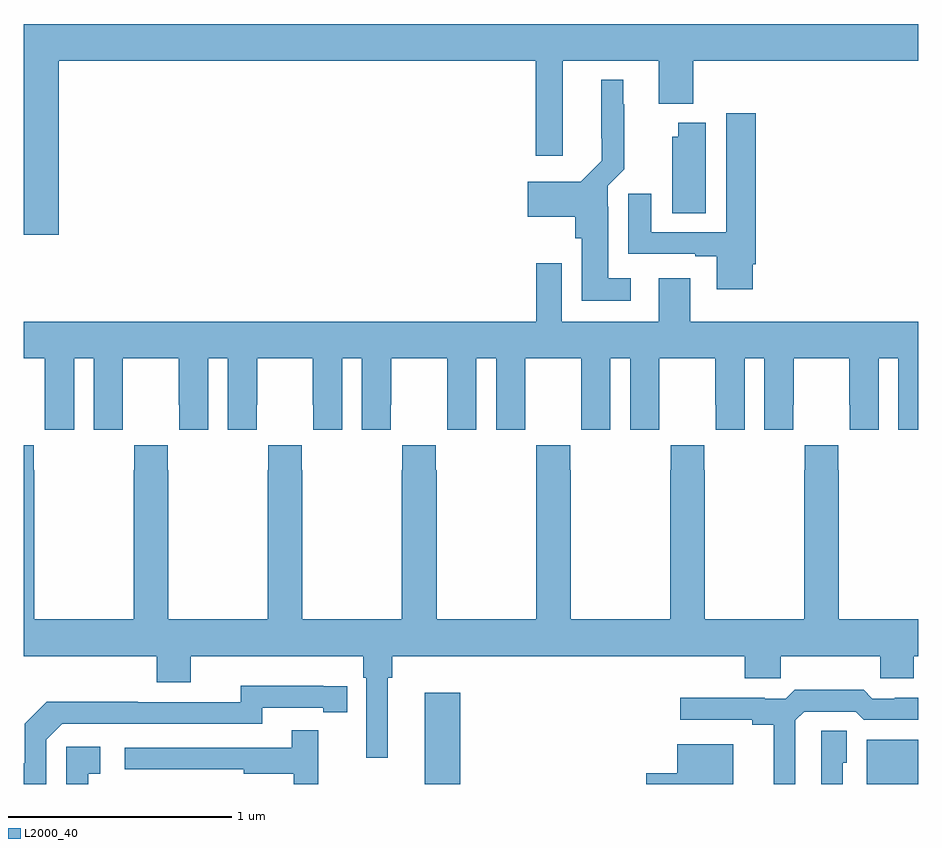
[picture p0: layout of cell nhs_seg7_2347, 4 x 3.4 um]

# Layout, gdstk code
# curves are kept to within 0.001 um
import gdstk
lib = gdstk.Library(unit=1e-6, precision=1e-09)
def R(c, l, rs):  # rectangles x0, y0, x1, y1
    for r in rs: c.add(gdstk.rectangle(r[:2], r[2:], *l))
def P(c, l, *ps):  # polygons
    for p in ps: c.add(gdstk.Polygon(p, *l))
L2000_40 = (2000, 40)

nhs_seg7_2347 = lib.new_cell('nhs_seg7_2347')
R(nhs_seg7_2347, L2000_40, [(264.794,1044,264.953,1044.409), (266.771,1044,267,1044.199)])
P(nhs_seg7_2347, L2000_40, [(263.156,1047.236),(265.289,1047.236),(265.289,1046.811),(265.411,1046.811),(265.411,1047.236),(265.841,1047.236),(265.841,1047.044),(265.994,1047.044),(265.994,1047.236),(267,1047.236),(267,1047.4),(263,1047.4),(263,1046.457),(263.156,1046.457)],
  [(265.714,1046.263),(265.615,1046.263),(265.615,1046.582),(265.611,1046.582),(265.611,1046.676),(265.685,1046.75),(265.685,1047.041),(265.681,1047.041),(265.681,1047.151),(265.583,1047.151),(265.584,1046.788),(265.491,1046.695),(265.254,1046.695),(265.254,1046.537),(265.466,1046.537),(265.466,1046.442),(265.496,1046.442),(265.496,1046.162),(265.714,1046.162)],
  [(266.26,1046.326),(266.273,1046.326),(266.273,1047.001),(266.141,1047.001),(266.141,1046.469),(265.807,1046.469),(265.807,1046.641),(265.703,1046.641),(265.703,1046.373),(266.003,1046.373),(266.003,1046.361),(266.099,1046.361),(266.099,1046.214),(266.26,1046.214)],
  [(266.05,1046.959),(265.928,1046.959),(265.928,1046.895),(265.901,1046.895),(265.901,1046.554),(266.05,1046.554)],
  [(263.224,1045.904),(263.312,1045.904),(263.312,1045.584),(263.442,1045.584),(263.442,1045.696),(263.443,1045.696),(263.443,1045.904),(263.693,1045.904),(263.693,1045.696),(263.694,1045.696),(263.694,1045.584),(263.824,1045.584),(263.824,1045.904),(263.912,1045.904),(263.912,1045.584),(264.042,1045.584),(264.042,1045.696),(264.043,1045.696),(264.043,1045.904),(264.293,1045.904),(264.293,1045.696),(264.294,1045.696),(264.294,1045.584),(264.424,1045.584),(264.424,1045.904),(264.512,1045.904),(264.512,1045.584),(264.642,1045.584),(264.642,1045.696),(264.643,1045.696),(264.643,1045.904),(264.893,1045.904),(264.893,1045.696),(264.894,1045.696),(264.894,1045.584),(265.024,1045.584),(265.024,1045.904),(265.112,1045.904),(265.112,1045.584),(265.242,1045.584),(265.242,1045.696),(265.243,1045.696),(265.243,1045.904),(265.493,1045.904),(265.493,1045.696),(265.494,1045.696),(265.494,1045.584),(265.624,1045.584),(265.624,1045.904),(265.712,1045.904),(265.712,1045.584),(265.842,1045.584),(265.842,1045.696),(265.843,1045.696),(265.843,1045.904),(266.093,1045.904),(266.093,1045.696),(266.094,1045.696),(266.094,1045.584),(266.224,1045.584),(266.224,1045.904),(266.312,1045.904),(266.312,1045.584),(266.442,1045.584),(266.442,1045.696),(266.443,1045.696),(266.443,1045.904),(266.693,1045.904),(266.693,1045.696),(266.694,1045.696),(266.694,1045.584),(266.824,1045.584),(266.824,1045.904),(266.912,1045.904),(266.912,1045.584),(267,1045.584),(267,1046.068),(265.981,1046.068),(265.981,1046.263),(265.841,1046.263),(265.841,1046.068),(265.407,1046.068),(265.407,1046.329),(265.291,1046.329),(265.291,1046.068),(263,1046.068),(263,1045.904),(263.093,1045.904),(263.093,1045.696),(263.094,1045.696),(263.094,1045.584),(263.224,1045.584)],
  [(266.225,1044.474),(266.385,1044.474),(266.385,1044.572),(266.83,1044.572),(266.83,1044.474),(266.98,1044.474),(266.98,1044.572),(267,1044.572),(267,1044.736),(266.646,1044.736),(266.646,1045.403),(266.643,1045.403),(266.643,1045.516),(266.493,1045.516),(266.493,1045.403),(266.491,1045.403),(266.491,1044.736),(266.046,1044.736),(266.046,1045.403),(266.043,1045.403),(266.043,1045.516),(265.893,1045.516),(265.893,1045.403),(265.891,1045.403),(265.891,1044.736),(265.446,1044.736),(265.446,1045.403),(265.443,1045.403),(265.443,1045.516),(265.293,1045.516),(265.293,1045.403),(265.291,1045.403),(265.291,1044.736),(264.846,1044.736),(264.846,1045.403),(264.843,1045.403),(264.843,1045.516),(264.693,1045.516),(264.693,1045.403),(264.691,1045.403),(264.691,1044.736),(264.246,1044.736),(264.246,1045.403),(264.243,1045.403),(264.243,1045.516),(264.093,1045.516),(264.093,1045.403),(264.091,1045.403),(264.091,1044.736),(263.646,1044.736),(263.646,1045.403),(263.643,1045.403),(263.643,1045.516),(263.493,1045.516),(263.493,1045.403),(263.491,1045.403),(263.491,1044.736),(263.046,1044.736),(263.046,1045.403),(263.043,1045.403),(263.043,1045.516),(263,1045.516),(263,1044.572),(263.594,1044.572),(263.594,1044.455),(263.746,1044.455),(263.746,1044.572),(264.518,1044.572),(264.518,1044.476),(264.531,1044.476),(264.531,1044.117),(264.628,1044.117),(264.628,1044.476),(264.647,1044.476),(264.647,1044.572),(266.225,1044.572)],
  [(263.1,1044.198),(263.172,1044.27),(264.066,1044.27),(264.066,1044.342),(264.338,1044.342),(264.338,1044.322),(264.446,1044.322),(264.446,1044.438),(263.97,1044.439),(263.97,1044.366),(263.51,1044.366),(263.51,1044.368),(263.102,1044.368),(263.004,1044.27),(263.004,1044.093),(263,1044.093),(263,1044),(263.1,1044)],
  [(266.451,1044.285),(266.49,1044.324),(266.721,1044.324),(266.757,1044.288),(267,1044.288),(267,1044.386),(266.896,1044.386),(266.896,1044.381),(266.796,1044.381),(266.757,1044.421),(266.449,1044.421),(266.409,1044.381),(266.315,1044.381),(266.315,1044.386),(265.935,1044.386),(265.935,1044.288),(266.258,1044.288),(266.258,1044.266),(266.354,1044.266),(266.354,1044),(266.451,1044)],
  [(264.317,1044.241),(264.199,1044.241),(264.199,1044.162),(263.451,1044.162),(263.451,1044.066),(263.983,1044.066),(263.983,1044.046),(264.207,1044.046),(264.207,1044),(264.317,1044)],
  [(266.664,1044.096),(266.68,1044.096),(266.68,1044.239),(266.568,1044.239),(266.568,1044),(266.664,1044)],
  [(266.173,1044.178),(265.922,1044.178),(265.922,1044.049),(265.785,1044.049),(265.785,1044),(266.173,1044)],
  [(263.288,1044.045),(263.341,1044.045),(263.341,1044.166),(263.19,1044.166),(263.19,1044),(263.288,1044)])

lib.write_gds('nhs_seg7_2347.gds')
